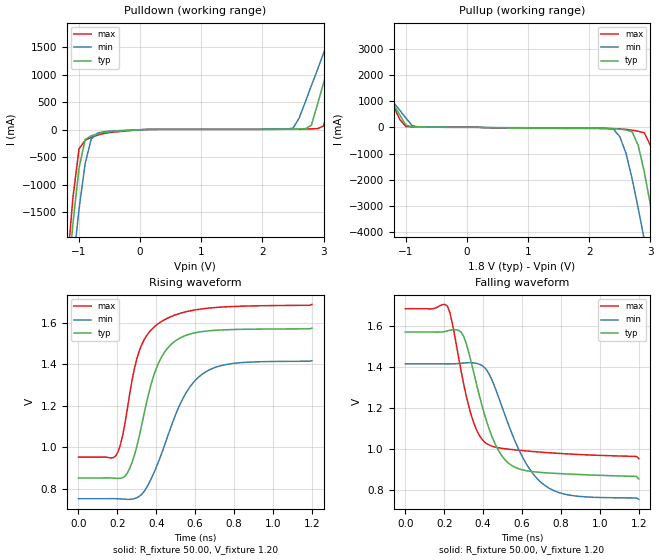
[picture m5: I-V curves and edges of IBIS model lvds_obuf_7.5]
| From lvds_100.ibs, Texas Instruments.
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|   Model lvds_obuf_7.5
[Model]   lvds_obuf_7.5
Model_type   Output
Polarity   Non-Inverting
Vmeas =   1.2000V
C_comp   4.00pF   4.00pF   4.00pF
[Temperature Range]   25.00   0.12k   -40.00
[Voltage Range]   1.80V   1.65V   1.95V
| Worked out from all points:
|   slope of the pulldown table from 0 to 0.27 V, typ, clamps not added: 39.9 ohm
|   slope of the pullup table from 0 to 0.27 V, typ, clamps not added: 26.5 ohm
|   rising waveform, R_fixture 50.00, V_fixture 1.20: 20-80 % time 126ps typ, 177ps min, 117ps max; typ from 0.853 V to 1.57 V
|   falling waveform, R_fixture 50.00, V_fixture 1.20: 20-80 % time 139ps typ, 183ps min, 107ps max; typ from 1.57 V to 0.853 V
[Pulldown]
| voltage   I(typ)   I(min)   I(max)
-1.8V     -11.25A    -11.52A    -11.63A
-1.2V     -2.95A     -3.66A     -2.56A
-1.1V     -1.71A     -2.5A      -1.24A
-1V       -700mA     -1.44A     -350mA
-900mV    -180mA     -620mA     -190mA
-800mV    -110mA     -170mA     -140mA
2.5V      12.94mA    28.61mA    10.72mA
2.8V      80.51mA    800mA      16.47mA
3V        850mA      1.39A      67.61mA
3.2V      1.64A      2A         1.05A
3.4V      2.44A      2.87A      2.05A
3.6V      3.25A      7.07A      3.07A
[Pullup]
| voltage   I(typ)   I(min)   I(max)
-1.8V     3.24A      3.32A      3.83A
-1.6V     2.43A      2.16A      2.81A
-1V       82.06mA    350mA      28.01mA
2.4V      -51.89mA   -86.16mA   -53.24mA
2.5V      -71.78mA   -360mA     -59.88mA
2.7V      -170mA     -1.96A     -110mA
2.9V      -1.71A     -4.29A     -210mA
3V        -2.96A     -5.53A     -690mA
3.1V      -4.29A     -6.79A     -1.87A
3.2V      -5.66A     -8.07A     -3.28A
3.3V      -7.05A     -9.36A     -4.76A
3.6V      -11.31A    -15.14A    -9.36A
[Ramp]
| variable   typ   min   max
dV/dt_r   0.67/0.16n   0.49/0.22n   0.80/0.12n
dV/dt_f   0.29/0.12n   0.27/0.17n   0.33/0.10n
R_load = 50.00
[Rising Waveform]
R_fixture = 50.00
V_fixture = 1.20
V_fixture_min = 1.10
V_fixture_max = 1.30
| time   V(typ)   V(min)   V(max)
0s        852.8mV    752.9mV    952.7mV
192ps     850.9mV    752.8mV    958.8mV
216ps     850.8mV    751.9mV    1.013V
252ps     877.1mV    749.9mV    1.189V
312ps     1.051V     763.8mV    1.462V
372ps     1.298V     845.2mV    1.563V
420ps     1.421V     951.4mV    1.601V
540ps     1.534V     1.24V      1.649V
648ps     1.558V     1.359V     1.667V
1.2ns     1.573V     1.417V     1.687V
[Falling Waveform]
R_fixture = 50.00
V_fixture = 1.20
V_fixture_min = 1.10
V_fixture_max = 1.30
| time   V(typ)   V(min)   V(max)
0s        1.573V     1.417V     1.687V
216ps     1.578V     1.417V     1.7V
300ps     1.551V     1.421V     1.317V
360ps     1.341V     1.42V      1.107V
420ps     1.129V     1.384V     1.025V
528ps     932.2mV    1.125V     999mV
612ps     895mV      943.2mV    990.9mV
696ps     884.8mV    837.4mV    984.1mV
840ps     876.8mV    774.3mV    975.1mV
1.2ns     852.8mV    752.9mV    952.7mV
